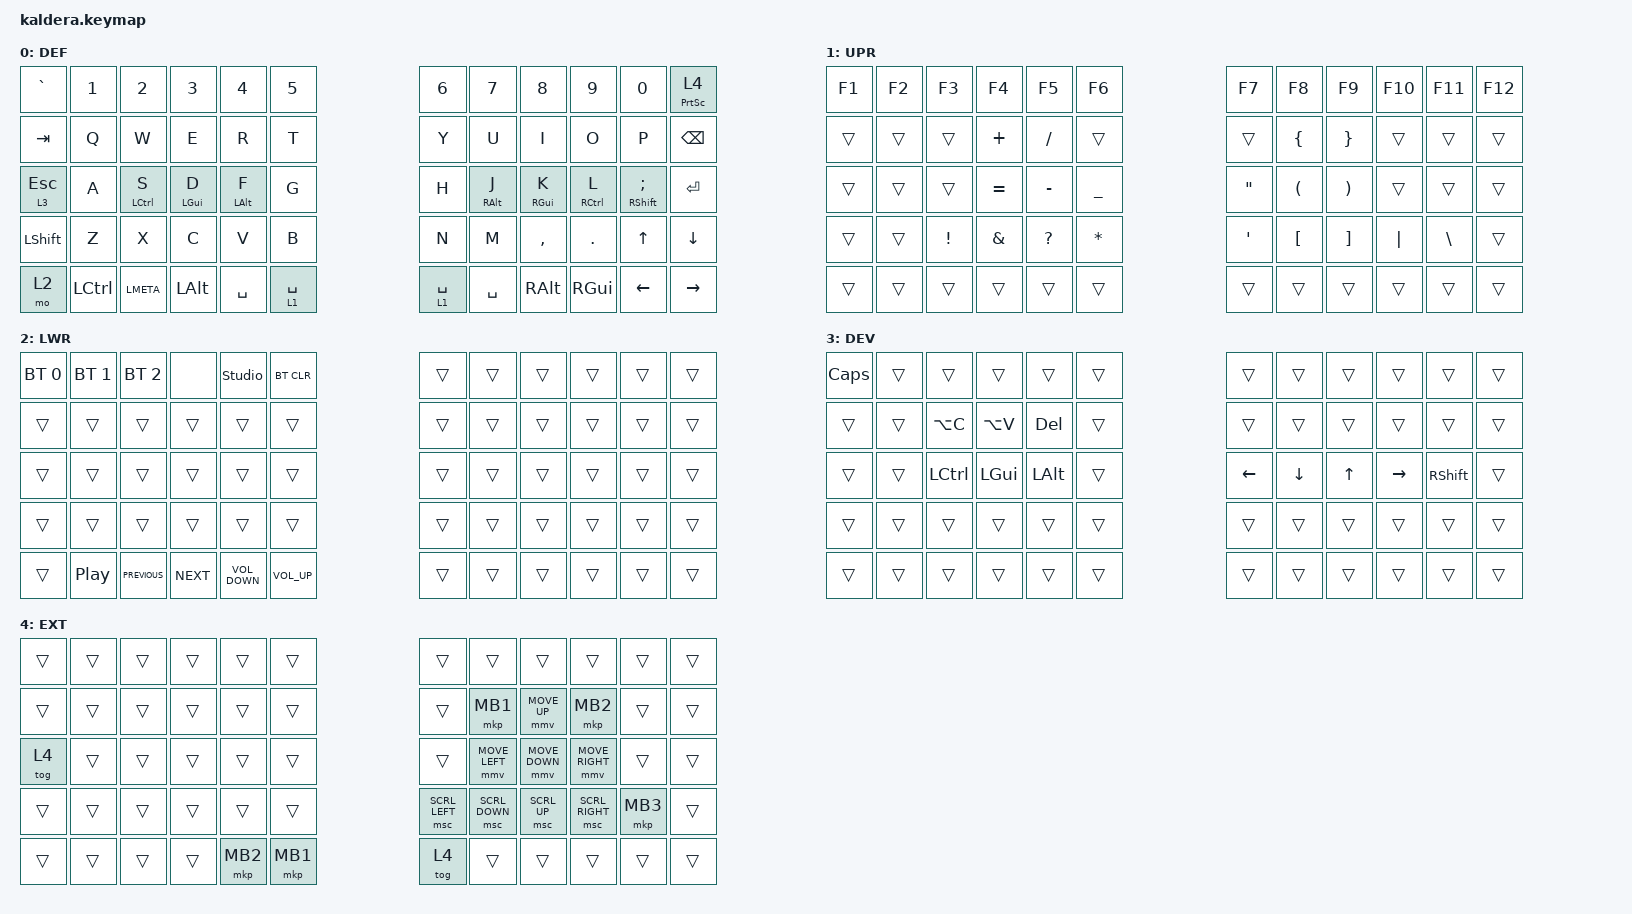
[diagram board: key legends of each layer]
#include <behaviors.dtsi>
#include <dt-bindings/zmk/bt.h>
#include <dt-bindings/zmk/keys.h>
#include <dt-bindings/zmk/pointing.h>

#define ZMK_POINTING_DEFAULT_MOVE_VAL 700  // default: 600
#define ZMK_POINTING_DEFAULT_SCRL_VAL 15// default: 10

/ {
    behaviors {
        hml: hml {
            compatible = "zmk,behavior-hold-tap";
            label = "HML";
            bindings = <&kp>, <&kp>;

            #binding-cells = <2>;
            tapping-term-ms = <280>;
            quick-tap-ms = <175>;
            require-prior-idle-ms = <150>;
            flavor = "balanced";
            hold-trigger-on-release;
            hold-trigger-key-positions = <6 18 30 42 54 66 7 8 9 10 11 19 20 21 22 23 31 32 33 34 35 43 44 45 46 47 55 56 57 58 59 67 68 69 71 70>;
        };

        hmr: hmr {
            compatible = "zmk,behavior-hold-tap";
            label = "HMR";
            bindings = <&kp>, <&kp>;

            #binding-cells = <2>;
            tapping-term-ms = <280>;
            quick-tap-ms = <175>;
            require-prior-idle-ms = <150>;
            flavor = "balanced";
            hold-trigger-on-release;
            hold-trigger-key-positions = <0 1 2 4 5 12 13 14 15 16 17 24 25 26 27 28 29 36 37 38 39 40 41 48 49 50 51 52 53 60 61 62 63 64 65 3>;
        };

        thumb: thumb {
            compatible = "zmk,behavior-hold-tap";
            label = "THUMB";
            bindings = <&mo>, <&kp>;

            #binding-cells = <2>;
            tapping-term-ms = <225>;
            quick-tap-ms = <100>;
            require-prior-idle-ms = <90>;
            flavor = "balanced";
        };

        pinky: pinky {
            compatible = "zmk,behavior-hold-tap";
            label = "PINKY";
            bindings = <&mo>, <&kp>;

            #binding-cells = <2>;
            tapping-term-ms = <225>;
            quick-tap-ms = <100>;
            require-prior-idle-ms = <50>;
            flavor = "hold-preferred";
        };

        extra: extra {
            compatible = "zmk,behavior-hold-tap";
            label = "EXTRA";
            bindings = <&kp>, <&tog>;

            #binding-cells = <2>;
            tapping-term-ms = <275>;
            quick-tap-ms = <150>;
            require-prior-idle-ms = <225>;
            flavor = "balanced";
        };
    };

    combos {
        compatible = "zmk,combos";

        PinkyLeft {
            bindings = <&kp LEFT_ARROW>;
            key-positions = <30>;
            layers = <3>;
        };

        PinkyRight {
            bindings = <&kp RIGHT_ARROW>;
            key-positions = <33>;
            layers = <3>;
        };
    };

    keymap {
        compatible = "zmk,keymap";

        DEF {
            bindings = <
&kp GRAVE        &kp N1     &kp N2        &kp N3       &kp N4       &kp N5            &kp N6          &kp N7       &kp N8       &kp N9        &kp N0                 &extra PRINTSCREEN 4
&kp TAB          &kp Q      &kp W         &kp E        &kp R        &kp T             &kp Y           &kp U        &kp I        &kp O         &kp P                  &kp BACKSPACE
&pinky 3 ESCAPE  &kp A      &hml LCTRL S  &hml LGUI D  &hml LALT F  &kp G             &kp H           &hmr RALT J  &hmr RGUI K  &hmr RCTRL L  &hmr RSHIFT SEMICOLON  &kp ENTER
&kp LSHFT        &kp Z      &kp X         &kp C        &kp V        &kp B             &kp N           &kp M        &kp COMMA    &kp DOT       &kp UP_ARROW           &kp DOWN
&mo 2            &kp LCTRL  &kp LMETA     &kp LALT     &kp SPACE    &thumb 1 SPACE    &thumb 1 SPACE  &kp SPACE    &kp RALT     &kp RGUI      &kp LEFT_ARROW         &kp RIGHT
            >;
        };

        UPR {
            bindings = <
&kp F1  &kp F2  &kp F3    &kp F4         &kp F5        &kp F6       &kp F7             &kp F8                &kp F9                 &kp F10   &kp F11        &kp F12
&trans  &trans  &trans    &kp PLUS       &kp SLASH     &trans       &trans             &kp LEFT_BRACE        &kp RIGHT_BRACE        &trans    &trans         &trans
&trans  &trans  &trans    &kp EQUAL      &kp MINUS     &kp UNDER    &kp DOUBLE_QUOTES  &kp LEFT_PARENTHESIS  &kp RIGHT_PARENTHESIS  &trans    &trans         &trans
&trans  &trans  &kp EXCL  &kp AMPERSAND  &kp QUESTION  &kp ASTRK    &kp SINGLE_QUOTE   &kp LEFT_BRACKET      &kp RIGHT_BRACKET      &kp PIPE  &kp BACKSLASH  &trans
&trans  &trans  &trans    &trans         &trans        &trans       &trans             &trans                &trans                 &trans    &trans         &trans
            >;
        };

        LWR {
            bindings = <
&bt BT_SEL 0  &bt BT_SEL 1      &bt BT_SEL 2    &none       &studio_unlock     &bt BT_CLR         &trans  &trans  &trans  &trans  &trans  &trans
&trans        &trans            &trans          &trans      &trans             &trans             &trans  &trans  &trans  &trans  &trans  &trans
&trans        &trans            &trans          &trans      &trans             &trans             &trans  &trans  &trans  &trans  &trans  &trans
&trans        &trans            &trans          &trans      &trans             &trans             &trans  &trans  &trans  &trans  &trans  &trans
&trans        &kp C_PLAY_PAUSE  &kp C_PREVIOUS  &kp C_NEXT  &kp C_VOLUME_DOWN  &kp C_VOLUME_UP    &trans  &trans  &trans  &trans  &trans  &trans
            >;
        };

        DEV {
            bindings = <
&kp CAPSLOCK  &trans  &trans     &trans     &trans      &trans    &trans    &trans    &trans  &trans     &trans      &trans
&trans        &trans  &kp LA(C)  &kp LA(V)  &kp DELETE  &trans    &trans    &trans    &trans  &trans     &trans      &trans
&trans        &trans  &kp LCTRL  &kp LGUI   &kp LALT    &trans    &kp LEFT  &kp DOWN  &kp UP  &kp RIGHT  &kp RSHIFT  &trans
&trans        &trans  &trans     &trans     &trans      &trans    &trans    &trans    &trans  &trans     &trans      &trans
&trans        &trans  &trans     &trans     &trans      &trans    &trans    &trans    &trans  &trans     &trans      &trans
            >;
        };

        EXT {
            bindings = <
&trans  &trans  &trans  &trans  &trans    &trans      &trans          &trans          &trans          &trans           &trans    &trans
&trans  &trans  &trans  &trans  &trans    &trans      &trans          &mkp MB1        &mmv MOVE_UP    &mkp MB2         &trans    &trans
&tog 4  &trans  &trans  &trans  &trans    &trans      &trans          &mmv MOVE_LEFT  &mmv MOVE_DOWN  &mmv MOVE_RIGHT  &trans    &trans
&trans  &trans  &trans  &trans  &trans    &trans      &msc SCRL_LEFT  &msc SCRL_DOWN  &msc SCRL_UP    &msc SCRL_RIGHT  &mkp MB3  &trans
&trans  &trans  &trans  &trans  &mkp MB2  &mkp MB1    &tog 4          &trans          &trans          &trans           &trans    &trans
            >;
        };
    }; // End of keymap
}; // End of file
